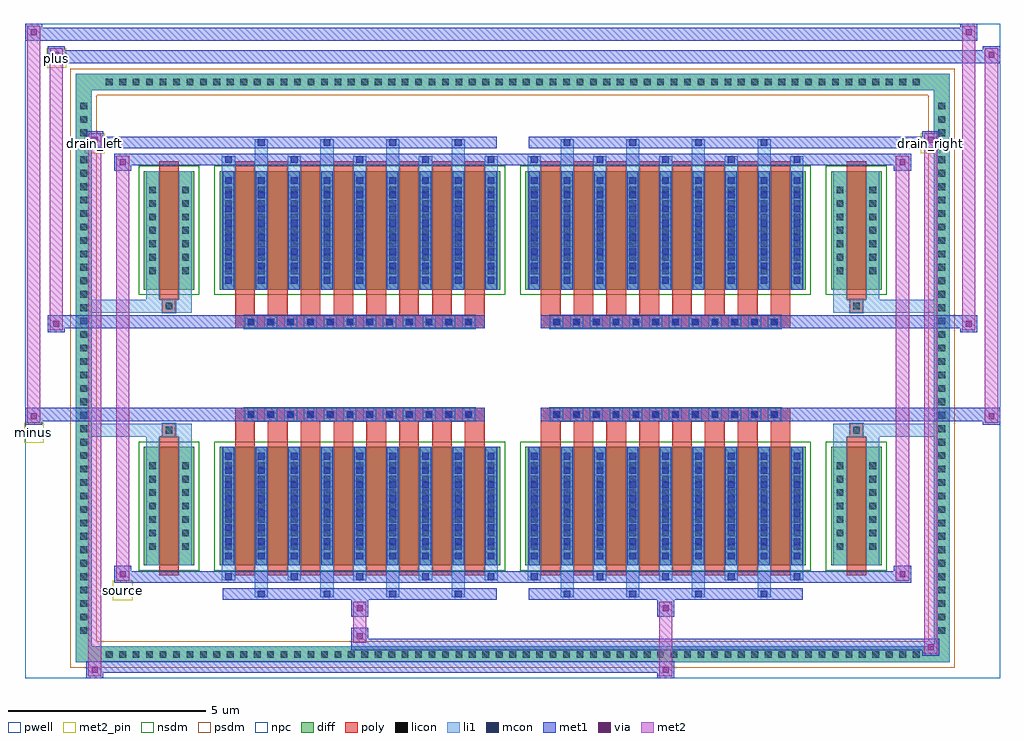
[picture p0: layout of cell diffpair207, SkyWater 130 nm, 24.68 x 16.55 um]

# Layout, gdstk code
import gdstk
lib = gdstk.Library(unit=1e-6, precision=5e-09)
def R(c, l, rs):  # rectangles x0, y0, x1, y1
    for r in rs: c.add(gdstk.rectangle(r[:2], r[2:], *l))
def A(c, l, x, y, w, h, nx, ny, dx, dy):  # array of equal rectangles
    R(c, l, [(x+i*dx, y+j*dy, x+i*dx+w, y+j*dy+h) for i in range(nx) for j in range(ny)])
def P(c, l, *ps):  # polygons
    for p in ps: c.add(gdstk.Polygon(p, *l))
pwell = (64, 44)
diff = (65, 20)
poly = (66, 20)
licon = (66, 44)
li1 = (67, 20)
mcon = (67, 44)
met1 = (68, 20)
via = (68, 44)
met2_pin = (69, 16)
met2 = (69, 20)
nsdm = (93, 44)
psdm = (94, 20)
npc = (95, 20)

diffpair207 = lib.new_cell('diffpair207')
R(diffpair207, pwell, [(-12.32,-7.84,12.32,8.71), (-9.64,-6.03,-0.01,-0.805), (0.01,-6.03,9.64,-0.805), (-9.64,0.805,-0.01,6.03), (0.01,0.805,9.64,6.03)])
A(diffpair207, diff, -10.405, -7.44, 0.41, 0.41, 61, 2, 0.34, 14.47)
A(diffpair207, diff, -11.05, -6.835, 0.41, 0.41, 1, 40, 0, 0.34)
A(diffpair207, diff, 10.64, -6.835, 0.41, 0.41, 1, 40, 0, 0.34)
R(diffpair207, diff, [(-10.405,-7.44,10.405,-7.03), (-11.05,-6.835,-10.64,6.835), (10.64,-6.835,11.05,6.835), (-9.33,-4.985,-8.05,-1.985), (-7.41,-4.985,-0.32,-1.985), (0.32,-4.985,7.41,-1.985), (8.05,-4.985,9.33,-1.985), (-9.33,1.985,-8.05,4.985), (-7.41,1.985,-0.32,4.985), (0.32,1.985,7.41,4.985), (8.05,1.985,9.33,4.985), (-10.405,7.03,10.405,7.44)])
P(diffpair207, diff, [(11.05,7.44),(-11.05,7.44),(-11.05,-7.03),(-10.64,-7.03),(-10.64,7.03),(10.64,7.03),(10.64,-7.03),(-10.64,-7.03),(-11.05,-7.03),(-11.05,-7.44),(11.05,-7.44)])
A(diffpair207, poly, -7.02, -5.235, 0.5, 3.5, 8, 2, 0.83, 6.97)
A(diffpair207, poly, 0.71, -5.235, 0.5, 3.5, 8, 2, 0.83, 6.97)
A(diffpair207, poly, -7.02, -1.735, 0.5, 0.4, 8, 2, 0.83, 3.07)
A(diffpair207, poly, 0.71, -1.735, 0.5, 0.4, 8, 2, 0.83, 3.07)
A(diffpair207, poly, -6.78, -1.335, 0.33, 0.33, 12, 2, 0.5, 2.34)
A(diffpair207, poly, 0.95, -1.335, 0.33, 0.33, 12, 2, 0.5, 2.34)
R(diffpair207, poly, [(-8.94,-5.235,-8.44,-1.735), (8.44,-5.235,8.94,-1.735), (-8.855,-1.735,-8.525,-1.405), (-8.855,-1.735,-8.525,-1.405), (8.525,-1.735,8.855,-1.405), (8.525,-1.735,8.855,-1.405), (-7.02,-1.335,-0.71,-1.005), (0.71,-1.335,7.02,-1.005), (-7.02,1.005,-0.71,1.335), (0.71,1.005,7.02,1.335), (-8.855,1.405,-8.525,1.735), (-8.855,1.405,-8.525,1.735), (8.525,1.405,8.855,1.735), (8.525,1.405,8.855,1.735), (-8.94,1.735,-8.44,5.235), (8.44,1.735,8.94,5.235)])
A(diffpair207, licon, -10.285, -7.32, 0.17, 0.17, 61, 2, 0.34, 14.47)
A(diffpair207, licon, -10.93, -6.715, 0.17, 0.17, 1, 40, 0, 0.34)
A(diffpair207, licon, 10.76, -6.715, 0.17, 0.17, 1, 40, 0, 0.34)
A(diffpair207, licon, -9.19, -4.59, 0.17, 0.17, 1, 7, 0, 0.34)
A(diffpair207, licon, -8.36, -4.59, 0.17, 0.17, 1, 7, 0, 0.34)
A(diffpair207, licon, -7.27, -4.59, 0.17, 0.17, 9, 7, 0.83, 0.34)
A(diffpair207, licon, 0.46, -4.59, 0.17, 0.17, 9, 7, 0.83, 0.34)
A(diffpair207, licon, 8.19, -4.59, 0.17, 0.17, 1, 7, 0, 0.34)
A(diffpair207, licon, 9.02, -4.59, 0.17, 0.17, 1, 7, 0, 0.34)
A(diffpair207, licon, -6.7, -1.255, 0.17, 0.17, 12, 2, 0.5, 2.34)
A(diffpair207, licon, 1.03, -1.255, 0.17, 0.17, 12, 2, 0.5, 2.34)
A(diffpair207, licon, -9.19, 2.38, 0.17, 0.17, 1, 7, 0, 0.34)
A(diffpair207, licon, -8.36, 2.38, 0.17, 0.17, 1, 7, 0, 0.34)
A(diffpair207, licon, -7.27, 2.38, 0.17, 0.17, 9, 7, 0.83, 0.34)
A(diffpair207, licon, 0.46, 2.38, 0.17, 0.17, 9, 7, 0.83, 0.34)
A(diffpair207, licon, 8.19, 2.38, 0.17, 0.17, 1, 7, 0, 0.34)
A(diffpair207, licon, 9.02, 2.38, 0.17, 0.17, 1, 7, 0, 0.34)
R(diffpair207, licon, [(-8.775,-1.655,-8.605,-1.485), (8.605,-1.655,8.775,-1.485), (-8.775,1.485,-8.605,1.655), (8.605,1.485,8.775,1.655)])
A(diffpair207, li1, -10.365, -7.4, 0.33, 0.33, 61, 2, 0.34, 14.47)
A(diffpair207, li1, -11.01, -6.795, 0.33, 0.33, 1, 40, 0, 0.34)
A(diffpair207, li1, 10.68, -6.795, 0.33, 0.33, 1, 40, 0, 0.34)
A(diffpair207, li1, -6.52, -5.79, 0.33, 0.805, 4, 2, 1.66, 10.775)
A(diffpair207, li1, -6.44, -5.79, 0.17, 0.17, 4, 2, 1.66, 11.41)
A(diffpair207, li1, 1.21, -5.79, 0.33, 0.805, 4, 2, 1.66, 10.775)
A(diffpair207, li1, 1.29, -5.79, 0.17, 0.17, 4, 2, 1.66, 11.41)
A(diffpair207, li1, -7.35, -5.36, 0.33, 0.375, 5, 2, 1.66, 10.345)
A(diffpair207, li1, -7.27, -5.36, 0.17, 0.17, 5, 2, 1.66, 10.55)
A(diffpair207, li1, 0.38, -5.36, 0.33, 0.375, 5, 2, 1.66, 10.345)
A(diffpair207, li1, 0.46, -5.36, 0.17, 0.17, 5, 2, 1.66, 10.55)
A(diffpair207, li1, -7.35, -4.985, 0.33, 3, 9, 2, 0.83, 6.97)
A(diffpair207, li1, 0.38, -4.985, 0.33, 3, 9, 2, 0.83, 6.97)
A(diffpair207, li1, -7.27, -4.83, 0.17, 0.17, 9, 8, 0.83, 0.36)
A(diffpair207, li1, -7.27, -4.83, 0.17, 2.69, 9, 2, 0.83, 6.97)
A(diffpair207, li1, 0.46, -4.83, 0.17, 0.17, 9, 8, 0.83, 0.36)
A(diffpair207, li1, 0.46, -4.83, 0.17, 2.69, 9, 2, 0.83, 6.97)
A(diffpair207, li1, -9.27, -4.67, 0.33, 0.33, 1, 7, 0, 0.34)
A(diffpair207, li1, -8.44, -4.67, 0.33, 0.33, 1, 7, 0, 0.34)
A(diffpair207, li1, -7.35, -4.67, 0.33, 0.33, 9, 7, 0.83, 0.34)
A(diffpair207, li1, 0.38, -4.67, 0.33, 0.33, 9, 7, 0.83, 0.34)
A(diffpair207, li1, 8.11, -4.67, 0.33, 0.33, 1, 7, 0, 0.34)
A(diffpair207, li1, 8.94, -4.67, 0.33, 0.33, 1, 7, 0, 0.34)
A(diffpair207, li1, -6.78, -1.335, 0.33, 0.33, 12, 2, 0.5, 2.34)
A(diffpair207, li1, 0.95, -1.335, 0.33, 0.33, 12, 2, 0.5, 2.34)
A(diffpair207, li1, -7.27, 2.14, 0.17, 0.17, 9, 8, 0.83, 0.36)
A(diffpair207, li1, 0.46, 2.14, 0.17, 0.17, 9, 8, 0.83, 0.36)
A(diffpair207, li1, -9.27, 2.3, 0.33, 0.33, 1, 7, 0, 0.34)
A(diffpair207, li1, -8.44, 2.3, 0.33, 0.33, 1, 7, 0, 0.34)
A(diffpair207, li1, -7.35, 2.3, 0.33, 0.33, 9, 7, 0.83, 0.34)
A(diffpair207, li1, 0.38, 2.3, 0.33, 0.33, 9, 7, 0.83, 0.34)
A(diffpair207, li1, 8.11, 2.3, 0.33, 0.33, 1, 7, 0, 0.34)
A(diffpair207, li1, 8.94, 2.3, 0.33, 0.33, 1, 7, 0, 0.34)
R(diffpair207, li1, [(-11.05,-7.44,-10.64,-7.03), (-11.05,-7.44,-10.64,-7.03), (-10.64,-7.44,10.64,-7.03), (10.64,-7.44,11.05,-7.03), (10.64,-7.44,11.05,-7.03), (-11.05,-7.03,-10.64,7.03), (10.64,-7.03,11.05,7.03), (-9.27,-4.985,-8.94,-1.985), (-8.44,-4.985,-8.11,-1.985), (8.11,-4.985,8.44,-1.985), (8.94,-4.985,9.27,-1.985), (-9.27,-1.985,-8.94,-1.405), (-8.44,-1.985,-8.11,-1.405), (8.11,-1.985,8.44,-1.405), (8.94,-1.985,9.27,-1.405), (-11.05,-1.735,-8.855,-1.405), (-9.27,-1.735,-8.855,-1.405), (-8.855,-1.735,-8.525,-1.405), (-8.525,-1.735,-8.11,-1.405), (8.11,-1.735,8.525,-1.405), (8.525,-1.735,8.855,-1.405), (8.525,-1.735,11.05,-1.405), (8.855,-1.735,9.27,-1.405), (-11.05,1.405,-8.855,1.735), (-9.27,1.405,-8.855,1.735), (-9.27,1.405,-8.94,1.985), (-8.855,1.405,-8.525,1.735), (-8.525,1.405,-8.11,1.735), (-8.44,1.405,-8.11,1.985), (8.11,1.405,8.525,1.735), (8.11,1.405,8.44,1.985), (8.525,1.405,8.855,1.735), (8.525,1.405,11.05,1.735), (8.855,1.405,9.27,1.735), (8.94,1.405,9.27,1.985), (-9.27,1.985,-8.94,4.985), (-8.44,1.985,-8.11,4.985), (8.11,1.985,8.44,4.985), (8.94,1.985,9.27,4.985), (-11.05,7.03,-10.64,7.44), (-11.05,7.03,-10.64,7.44), (-10.64,7.03,10.64,7.44), (10.64,7.03,11.05,7.44), (10.64,7.03,11.05,7.44)])
A(diffpair207, mcon, -6.44, -5.79, 0.17, 0.17, 4, 2, 1.66, 11.41)
A(diffpair207, mcon, 1.29, -5.79, 0.17, 0.17, 4, 2, 1.66, 11.41)
A(diffpair207, mcon, -7.27, -5.36, 0.17, 0.17, 5, 2, 1.66, 10.55)
A(diffpair207, mcon, 0.46, -5.36, 0.17, 0.17, 5, 2, 1.66, 10.55)
A(diffpair207, mcon, -7.27, -4.83, 0.17, 0.17, 9, 8, 0.83, 0.36)
A(diffpair207, mcon, 0.46, -4.83, 0.17, 0.17, 9, 8, 0.83, 0.36)
A(diffpair207, mcon, -6.7, -1.255, 0.17, 0.17, 12, 2, 0.5, 2.34)
A(diffpair207, mcon, 1.03, -1.255, 0.17, 0.17, 12, 2, 0.5, 2.34)
A(diffpair207, mcon, -7.27, 2.14, 0.17, 0.17, 9, 8, 0.83, 0.36)
A(diffpair207, mcon, 0.46, 2.14, 0.17, 0.17, 9, 8, 0.83, 0.36)
A(diffpair207, met1, -6.5, -5.85, 0.29, 0.29, 4, 2, 1.66, 11.41)
A(diffpair207, met1, 1.23, -5.85, 0.29, 0.29, 4, 2, 1.66, 11.41)
A(diffpair207, met1, -7.33, -5.42, 0.29, 0.29, 5, 2, 1.66, 10.55)
A(diffpair207, met1, 0.4, -5.42, 0.29, 0.29, 5, 2, 1.66, 10.55)
A(diffpair207, met1, -7.33, -4.985, 0.29, 3, 9, 2, 0.83, 6.97)
A(diffpair207, met1, 0.4, -4.985, 0.29, 3, 9, 2, 0.83, 6.97)
A(diffpair207, met1, -7.33, -4.89, 0.29, 0.29, 9, 8, 0.83, 0.36)
A(diffpair207, met1, 0.4, -4.89, 0.29, 0.29, 9, 8, 0.83, 0.36)
A(diffpair207, met1, -6.76, -1.315, 0.29, 0.29, 12, 2, 0.5, 2.34)
A(diffpair207, met1, 0.97, -1.315, 0.29, 0.29, 12, 2, 0.5, 2.34)
A(diffpair207, met1, -7.33, 2.08, 0.29, 0.29, 9, 8, 0.83, 0.36)
A(diffpair207, met1, 0.4, 2.08, 0.29, 0.29, 9, 8, 0.83, 0.36)
R(diffpair207, met1, [(-10.78,-7.84,-10.35,-7.41), (3.65,-7.84,4.08,-7.41), (-10.78,-7.7,4.08,-7.41), (10.35,-7.27,10.78,-6.84), (-4.08,-7.13,10.78,-6.84), (-4.08,-6.99,-3.65,-6.56), (-4.08,-6.28,-3.65,-5.85), (3.65,-6.28,4.08,-5.85), (-7.33,-5.85,-0.4,-5.56), (0.4,-5.85,7.33,-5.56), (-10.07,-5.42,-9.64,-4.99), (-10.07,-5.42,-7.33,-5.13), (-7.33,-5.42,-0.4,-5.13), (-0.4,-5.42,0.4,-5.13), (0.4,-5.42,7.33,-5.13), (7.33,-5.42,10.07,-5.13), (9.64,-5.42,10.07,-4.99), (-12.32,-1.435,-11.89,-1.005), (11.89,-1.435,12.32,-1.005), (-12.32,-1.335,-0.71,-1.005), (-7.02,-1.335,-0.71,-1.005), (0.71,-1.335,7.02,-1.005), (0.71,-1.335,12.32,-1.005), (-11.75,0.905,-11.32,1.335), (11.32,0.905,11.75,1.335), (-11.75,1.005,-7.02,1.335), (-7.02,1.005,-0.71,1.335), (0.71,1.005,7.02,1.335), (7.02,1.005,11.75,1.335), (-10.07,4.99,-9.64,5.42), (9.64,4.99,10.07,5.42), (-10.07,5.13,-7.33,5.42), (-7.33,5.13,-0.4,5.42), (-0.4,5.13,0.4,5.42), (0.4,5.13,7.33,5.42), (7.33,5.13,10.07,5.42), (-10.78,5.56,-10.35,5.99), (-10.78,5.56,-7.33,5.85), (-7.33,5.56,-0.4,5.85), (0.4,5.56,7.33,5.85), (7.33,5.56,10.78,5.85), (10.35,5.56,10.78,5.99), (-11.75,7.71,-11.32,8.14), (-11.75,7.71,-9.64,8.04), (-9.64,7.71,9.64,8.04), (9.64,7.71,12.32,8.04), (11.89,7.71,12.32,8.14), (-12.32,8.28,-11.89,8.71), (-12.32,8.28,-9.64,8.61), (-9.64,8.28,9.64,8.61), (9.64,8.28,11.75,8.61), (11.32,8.28,11.75,8.71)])
R(diffpair207, via, [(-10.64,-7.7,-10.49,-7.55), (3.79,-7.7,3.94,-7.55), (10.49,-7.13,10.64,-6.98), (-3.94,-6.85,-3.79,-6.7), (-3.94,-6.14,-3.79,-5.99), (3.79,-6.14,3.94,-5.99), (-9.93,-5.28,-9.78,-5.13), (9.78,-5.28,9.93,-5.13), (-12.18,-1.295,-12.03,-1.145), (12.03,-1.295,12.18,-1.145), (-11.61,1.045,-11.46,1.195), (11.46,1.045,11.61,1.195), (-9.93,5.13,-9.78,5.28), (9.78,5.13,9.93,5.28), (-10.64,5.7,-10.49,5.85), (10.49,5.7,10.64,5.85), (-11.61,7.85,-11.46,8), (12.03,7.85,12.18,8), (-12.18,8.42,-12.03,8.57), (11.46,8.42,11.61,8.57)])
R(diffpair207, met2_pin, [(-10.105,-5.87,-9.605,-5.37), (-12.355,-1.885,-11.855,-1.385), (-10.815,5.44,-10.315,5.94), (10.315,5.44,10.815,5.94), (-11.785,7.59,-11.285,8.09)])
R(diffpair207, met2, [(-10.73,-7.79,-10.4,-7.46), (-10.73,-7.79,-10.4,5.94), (3.7,-7.79,4.03,-7.46), (3.7,-7.46,4.03,-6.23), (10.4,-7.22,10.73,-6.89), (10.4,-7.22,10.73,5.94), (-4.03,-6.94,-3.7,-6.61), (-4.03,-6.61,-3.7,-6.23), (-4.03,-6.23,-3.7,-5.9), (3.7,-6.23,4.03,-5.9), (-10.02,-5.37,-9.69,-5.04), (-10.02,-5.37,-9.69,5.37), (9.69,-5.37,10.02,-5.04), (9.69,-5.37,10.02,5.37), (-12.27,-1.385,-11.94,-1.055), (-12.27,-1.385,-11.94,8.66), (11.94,-1.385,12.27,-1.055), (11.94,-1.385,12.27,8.09), (-11.7,0.955,-11.37,1.285), (-11.7,0.955,-11.37,8.09), (11.37,0.955,11.7,1.285), (11.37,0.955,11.7,8.66), (-10.02,5.04,-9.69,5.37), (9.69,5.04,10.02,5.37), (-10.73,5.61,-10.4,5.94), (10.4,5.61,10.73,5.94), (-11.7,7.76,-11.37,8.09), (11.94,7.76,12.27,8.09), (-12.27,8.33,-11.94,8.66), (11.37,8.33,11.7,8.66)])
P(diffpair207, met2, [(12.27,-1.385),(12.27,-1.385),(12.27,-1.055),(12.27,-1.055)],
  [(12.27,7.76),(12.27,7.76),(12.27,8.09),(12.27,8.09)],
  [(-11.94,-1.385),(-11.94,-1.385),(-11.94,-1.055),(-11.94,-1.055)],
  [(-11.94,8.33),(-11.94,8.33),(-11.94,8.66),(-11.94,8.66)],
  [(11.7,0.955),(11.7,0.955),(11.7,1.285),(11.7,1.285)],
  [(11.7,8.33),(11.7,8.33),(11.7,8.66),(11.7,8.66)],
  [(-11.37,0.955),(-11.37,0.955),(-11.37,1.285),(-11.37,1.285)],
  [(-11.37,7.76),(-11.37,7.76),(-11.37,8.09),(-11.37,8.09)],
  [(-10.4,-7.79),(-10.4,-7.79),(-10.4,-7.46),(-10.4,-7.46)],
  [(-10.4,5.61),(-10.4,5.61),(-10.4,5.94),(-10.4,5.94)],
  [(10.73,-7.22),(10.73,-7.22),(10.73,-6.89),(10.73,-6.89)],
  [(10.73,5.61),(10.73,5.61),(10.73,5.94),(10.73,5.94)],
  [(-9.69,-5.37),(-9.69,-5.37),(-9.69,-5.04),(-9.69,-5.04)],
  [(-9.69,5.04),(-9.69,5.04),(-9.69,5.37),(-9.69,5.37)],
  [(10.02,-5.37),(10.02,-5.37),(10.02,-5.04),(10.02,-5.04)],
  [(10.02,5.04),(10.02,5.04),(10.02,5.37),(10.02,5.37)])
R(diffpair207, nsdm, [(-9.46,-5.115,-7.92,-1.855), (-7.54,-5.115,-0.19,-1.855), (0.19,-5.115,7.54,-1.855), (7.92,-5.115,9.46,-1.855), (-9.46,1.855,-7.92,5.115), (-7.54,1.855,-0.19,5.115), (0.19,1.855,7.54,5.115), (7.92,1.855,9.46,5.115)])
P(diffpair207, psdm, [(11.18,7.57),(-11.18,7.57),(-11.18,-6.9),(-10.51,-6.9),(-10.51,6.9),(10.51,6.9),(10.51,-6.9),(-10.51,-6.9),(-11.18,-6.9),(-11.18,-7.57),(11.18,-7.57)])
A(diffpair207, npc, -6.8, -1.355, 0.37, 0.37, 12, 2, 0.5, 2.34)
A(diffpair207, npc, 0.93, -1.355, 0.37, 0.37, 12, 2, 0.5, 2.34)
R(diffpair207, npc, [(-8.875,-1.755,-8.505,-1.385), (8.505,-1.755,8.875,-1.385), (-6.8,-1.355,-5.93,-0.985), (-6.8,-1.355,-5.93,-0.985), (-6.3,-1.355,-5.43,-0.985), (-6.3,-1.355,-5.43,-0.985), (-5.8,-1.355,-4.93,-0.985), (-5.8,-1.355,-4.93,-0.985), (-5.3,-1.355,-4.43,-0.985), (-5.3,-1.355,-4.43,-0.985), (-4.8,-1.355,-3.93,-0.985), (-4.8,-1.355,-3.93,-0.985), (-4.3,-1.355,-3.43,-0.985), (-4.3,-1.355,-3.43,-0.985), (-3.8,-1.355,-2.93,-0.985), (-3.8,-1.355,-2.93,-0.985), (-3.3,-1.355,-2.43,-0.985), (-3.3,-1.355,-2.43,-0.985), (-2.8,-1.355,-1.93,-0.985), (-2.8,-1.355,-1.93,-0.985), (-2.3,-1.355,-1.43,-0.985), (-2.3,-1.355,-1.43,-0.985), (-1.8,-1.355,-0.93,-0.985), (-1.8,-1.355,-0.93,-0.985), (0.93,-1.355,1.8,-0.985), (0.93,-1.355,1.8,-0.985), (1.43,-1.355,2.3,-0.985), (1.43,-1.355,2.3,-0.985), (1.93,-1.355,2.8,-0.985), (1.93,-1.355,2.8,-0.985), (2.43,-1.355,3.3,-0.985), (2.43,-1.355,3.3,-0.985), (2.93,-1.355,3.8,-0.985), (2.93,-1.355,3.8,-0.985), (3.43,-1.355,4.3,-0.985), (3.43,-1.355,4.3,-0.985), (3.93,-1.355,4.8,-0.985), (3.93,-1.355,4.8,-0.985), (4.43,-1.355,5.3,-0.985), (4.43,-1.355,5.3,-0.985), (4.93,-1.355,5.8,-0.985), (4.93,-1.355,5.8,-0.985), (5.43,-1.355,6.3,-0.985), (5.43,-1.355,6.3,-0.985), (5.93,-1.355,6.8,-0.985), (5.93,-1.355,6.8,-0.985), (-6.8,0.985,-5.93,1.355), (-6.8,0.985,-5.93,1.355), (-6.3,0.985,-5.43,1.355), (-6.3,0.985,-5.43,1.355), (-5.8,0.985,-4.93,1.355), (-5.8,0.985,-4.93,1.355), (-5.3,0.985,-4.43,1.355), (-5.3,0.985,-4.43,1.355), (-4.8,0.985,-3.93,1.355), (-4.8,0.985,-3.93,1.355), (-4.3,0.985,-3.43,1.355), (-4.3,0.985,-3.43,1.355), (-3.8,0.985,-2.93,1.355), (-3.8,0.985,-2.93,1.355), (-3.3,0.985,-2.43,1.355), (-3.3,0.985,-2.43,1.355), (-2.8,0.985,-1.93,1.355), (-2.8,0.985,-1.93,1.355), (-2.3,0.985,-1.43,1.355), (-2.3,0.985,-1.43,1.355), (-1.8,0.985,-0.93,1.355), (-1.8,0.985,-0.93,1.355), (0.93,0.985,1.8,1.355), (0.93,0.985,1.8,1.355), (1.43,0.985,2.3,1.355), (1.43,0.985,2.3,1.355), (1.93,0.985,2.8,1.355), (1.93,0.985,2.8,1.355), (2.43,0.985,3.3,1.355), (2.43,0.985,3.3,1.355), (2.93,0.985,3.8,1.355), (2.93,0.985,3.8,1.355), (3.43,0.985,4.3,1.355), (3.43,0.985,4.3,1.355), (3.93,0.985,4.8,1.355), (3.93,0.985,4.8,1.355), (4.43,0.985,5.3,1.355), (4.43,0.985,5.3,1.355), (4.93,0.985,5.8,1.355), (4.93,0.985,5.8,1.355), (5.43,0.985,6.3,1.355), (5.43,0.985,6.3,1.355), (5.93,0.985,6.8,1.355), (5.93,0.985,6.8,1.355), (-8.875,1.385,-8.505,1.755), (8.505,1.385,8.875,1.755)])
diffpair207.add(gdstk.Label('minus', (-12.105,-1.635), layer=69, texttype=5))
diffpair207.add(gdstk.Label('drain_right', (10.565,5.69), layer=69, texttype=5))
diffpair207.add(gdstk.Label('drain_left', (-10.565,5.69), layer=69, texttype=5))
diffpair207.add(gdstk.Label('source', (-9.855,-5.62), layer=69, texttype=5))
diffpair207.add(gdstk.Label('plus', (-11.535,7.84), layer=69, texttype=5))

lib.write_gds('diffpair207.gds')
